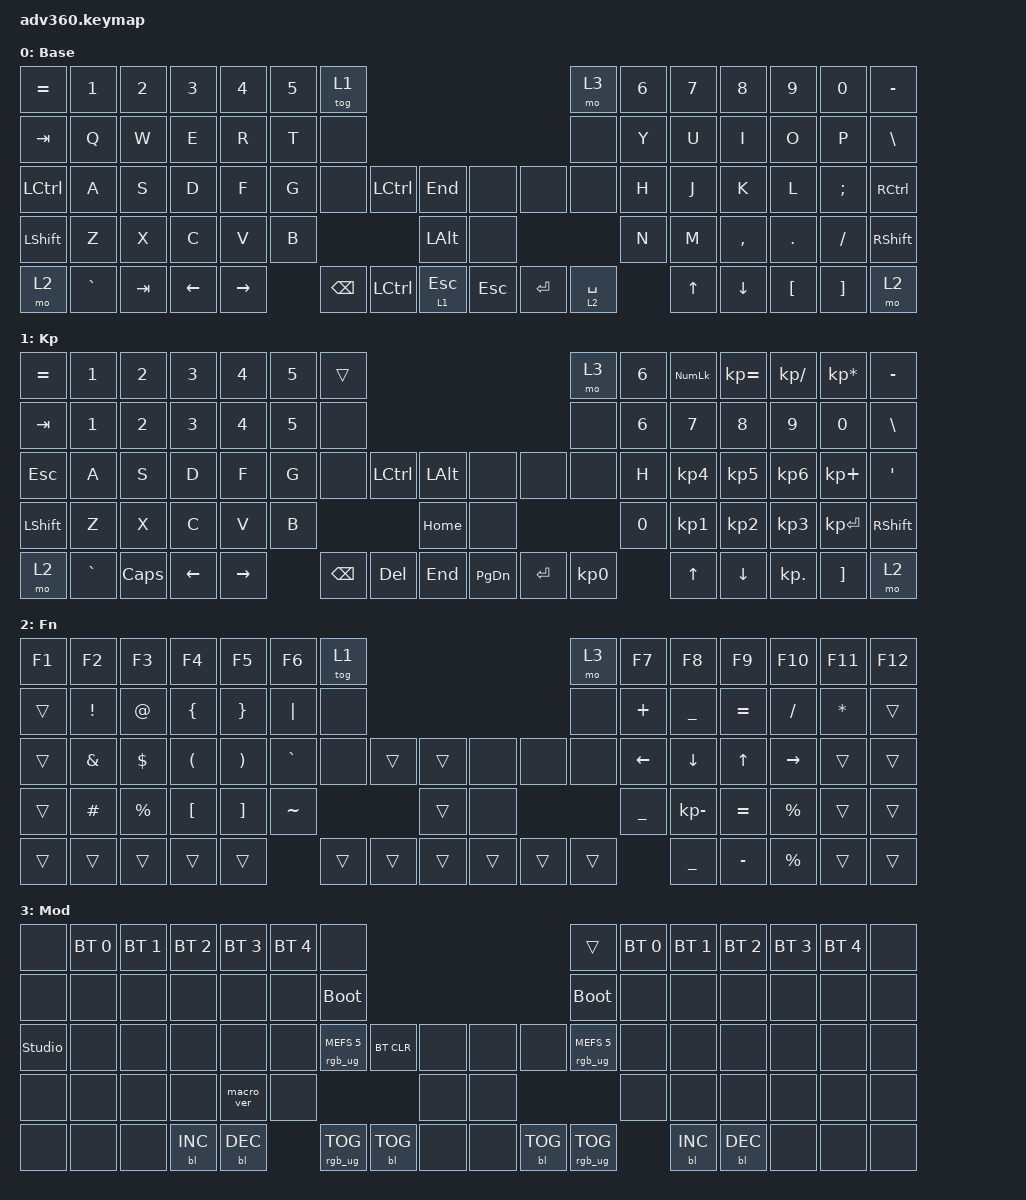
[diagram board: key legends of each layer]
#include <dt-bindings/zmk/stp.h>
#include <behaviors.dtsi>
#include <dt-bindings/zmk/backlight.h>
#include <dt-bindings/zmk/bt.h>
#include <dt-bindings/zmk/keys.h>
#include <dt-bindings/zmk/rgb.h>

/ {
    behaviors {
        #include "macros.dtsi"
      #include "version.dtsi"
    };

    keymap {
        compatible = "zmk,keymap";

        default_layer {
            display-name = "Base";
            bindings = <
&kp EQUAL  &kp N1     &kp N2   &kp N3    &kp N4     &kp N5  &tog 1                                                                 &mo 3        &kp N6  &kp N7  &kp N8     &kp N9    &kp N0    &kp MINUS
&kp TAB    &kp Q      &kp W    &kp E     &kp R      &kp T   &none                                                                  &none        &kp Y   &kp U   &kp I      &kp O     &kp P     &kp BSLH
&kp LCTRL  &kp A      &kp S    &kp D     &kp F      &kp G   &none          &kp LEFT_CONTROL  &kp END           &none    &none      &none        &kp H   &kp J   &kp K      &kp L     &kp SEMI  &kp RCTRL
&kp LSHFT  &kp Z      &kp X    &kp C     &kp V      &kp B                                    &kp LEFT_ALT      &none                            &kp N   &kp M   &kp COMMA  &kp DOT   &kp FSLH  &kp RSHFT
&mo 2      &kp GRAVE  &kp TAB  &kp LEFT  &kp RIGHT          &kp BACKSPACE  &kp LCTRL         &lt 1 ESC         &kp ESC  &kp ENTER  &lt 2 SPACE          &kp UP  &kp DOWN   &kp LBKT  &kp RBKT  &mo 2
            >;
        };

        keypad {
            display-name = "Kp";
            bindings = <
&kp EQUAL  &kp N1     &kp N2    &kp N3    &kp N4     &kp N5  &trans                                                   &mo 3      &kp N6        &kp KP_NUM  &kp KP_EQUAL  &kp KP_DIVIDE  &kp KP_MULTIPLY  &kp MINUS
&kp TAB    &kp N1     &kp N2    &kp N3    &kp N4     &kp N5  &none                                                    &none      &kp N6        &kp N7      &kp N8        &kp N9         &kp N0           &kp BSLH
&kp ESC    &kp A      &kp S     &kp D     &kp F      &kp G   &none     &kp LCTRL  &kp LALT      &none      &none      &none      &kp H         &kp KP_N4   &kp KP_N5     &kp KP_N6      &kp KP_PLUS      &kp SQT
&kp LSHFT  &kp Z      &kp X     &kp C     &kp V      &kp B                        &kp HOME      &none                            &kp NUMBER_0  &kp KP_N1   &kp KP_N2     &kp KP_N3      &kp KP_ENTER     &kp RSHFT
&mo 2      &kp GRAVE  &kp CAPS  &kp LEFT  &kp RIGHT          &kp BSPC  &kp DEL    &kp END       &kp PG_DN  &kp ENTER  &kp KP_N0                &kp UP      &kp DOWN      &kp KP_DOT     &kp RBKT         &mo 2
            >;
        };

        fn {
            display-name = "Fn";
            bindings = <
&kp F1  &kp F2           &kp F3       &kp F4                &kp F5                 &kp F6     &tog 1                                      &mo 3   &kp F7          &kp F8          &kp F9        &kp F10          &kp F11       &kp F12
&trans  &kp EXCLAMATION  &kp AT_SIGN  &kp LEFT_BRACE        &kp RIGHT_BRACE        &kp PIPE   &none                                       &none   &kp PLUS        &kp UNDERSCORE  &kp EQUAL     &kp SLASH        &kp ASTERISK  &trans
&trans  &kp AMPERSAND    &kp DOLLAR   &kp LEFT_PARENTHESIS  &kp RIGHT_PARENTHESIS  &kp GRAVE  &none   &trans  &trans      &none   &none   &none   &kp LEFT_ARROW  &kp DOWN_ARROW  &kp UP_ARROW  &kp RIGHT_ARROW  &trans        &trans
&trans  &kp HASH         &kp PERCENT  &kp LEFT_BRACKET      &kp RIGHT_BRACKET      &kp TILDE                  &trans      &none                   &kp UNDERSCORE  &kp KP_MINUS    &kp EQUAL     &kp PERCENT      &trans        &trans
&trans  &trans           &trans       &trans                &trans                            &trans  &trans  &trans      &trans  &trans  &trans                  &kp UNDERSCORE  &kp MINUS     &kp PERCENT      &trans        &trans
            >;
        };

        mod {
            display-name = "Mod";
            bindings = <
&none           &bt BT_SEL 0  &bt BT_SEL 1  &bt BT_SEL 2  &bt BT_SEL 3  &bt BT_SEL 4  &none                                                             &trans                  &bt BT_SEL 0  &bt BT_SEL 1  &bt BT_SEL 2  &bt BT_SEL 3  &bt BT_SEL 4  &none
&none           &none         &none         &none         &none         &none         &bootloader                                                       &bootloader             &none         &none         &none         &none         &none         &none
&studio_unlock  &none         &none         &none         &none         &none         &rgb_ug RGB_MEFS_CMD 5  &bt BT_CLR  &none      &none  &none       &rgb_ug RGB_MEFS_CMD 5  &none         &none         &none         &none         &none         &none
&none           &none         &none         &none         &macro_ver    &none                                             &none      &none                                      &none         &none         &none         &none         &none         &none
&none           &none         &none         &bl BL_INC    &bl BL_DEC                  &rgb_ug RGB_TOG         &bl BL_TOG  &none      &none  &bl BL_TOG  &rgb_ug RGB_TOG                       &bl BL_INC    &bl BL_DEC    &none         &none         &none
            >;
        };

        extra1 {
            display-name = "Red";
            status = "reserved";
        };

        extra2 {
            display-name = "Purple";
            status = "reserved";
        };

        extra3 {
            display-name = "Cyan";
            status = "reserved";
        };

        extra4 {
            display-name = "Yellow";
            status = "reserved";
        };
    };
};
